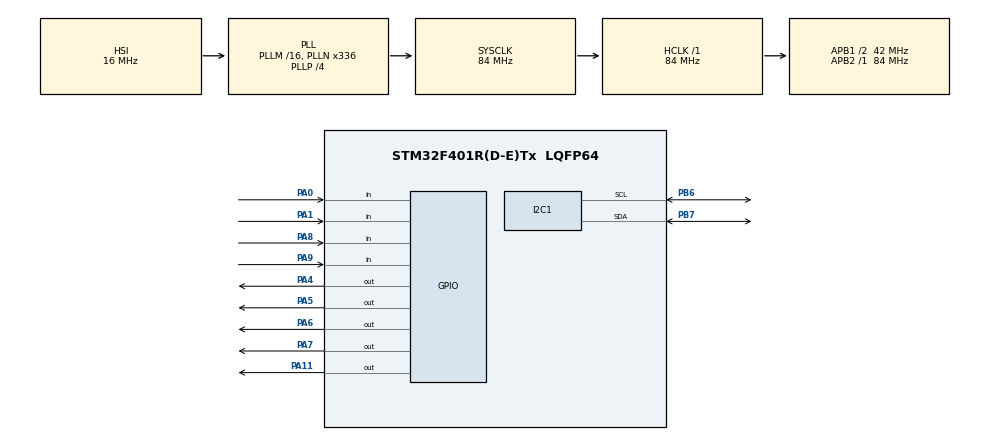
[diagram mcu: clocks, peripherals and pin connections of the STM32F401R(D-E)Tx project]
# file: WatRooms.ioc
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Mcu.Family=STM32F4
Mcu.Name=STM32F401R(D-E)Tx
Mcu.Package=LQFP64
NVIC.PriorityGroup=NVIC_PRIORITYGROUP_0
PA0-WKUP.Signal=GPIO_Input
PA1.Signal=GPIO_Input
PA11.Signal=GPIO_Output
PA13.Mode=Serial_Wire
PA13.Signal=SYS_JTMS-SWDIO
PA14.Mode=Serial_Wire
PA14.Signal=SYS_JTCK-SWCLK
PA4.Signal=GPIO_Output
PA5.Signal=GPIO_Output
PA6.Signal=GPIO_Output
PA7.Signal=GPIO_Output
PA8.Signal=GPIO_Input
PA9.Signal=GPIO_Input
PB6.Mode=I2C
PB6.Signal=I2C1_SCL
PB7.Mode=I2C
PB7.Signal=I2C1_SDA
PH0\ -\ OSC_IN.Mode=HSE-External-Oscillator
PH0\ -\ OSC_IN.Signal=RCC_OSC_IN
PH1\ -\ OSC_OUT.Mode=HSE-External-Oscillator
PH1\ -\ OSC_OUT.Signal=RCC_OSC_OUT
ProjectManager.HeapSize=0x200
ProjectManager.StackSize=0x400
ProjectManager.TargetToolchain=STM32CubeIDE
RCC.48MHZClocksFreq_Value=48000000
RCC.AHBFreq_Value=84000000
RCC.APB1CLKDivider=RCC_HCLK_DIV2
RCC.APB1Freq_Value=42000000
RCC.APB1TimFreq_Value=84000000
RCC.APB2Freq_Value=84000000
RCC.APB2TimFreq_Value=84000000
RCC.CortexFreq_Value=84000000
RCC.HCLKFreq_Value=84000000
RCC.HSE_VALUE=8000000
RCC.HSI_VALUE=16000000
RCC.LSE_VALUE=32768
RCC.PLLN=336
RCC.PLLP=RCC_PLLP_DIV4
RCC.PLLQ=7
RCC.SYSCLKFreq_VALUE=84000000
RCC.SYSCLKSource=RCC_SYSCLKSOURCE_PLLCLK
RCC.VCOOutputFreq_Value=336000000
board=NUCLEO-F401RE

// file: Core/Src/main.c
/* USER CODE BEGIN Header */
/* USER CODE END Header */
#include "main.h"

/* USER CODE BEGIN Includes */
#include <stdio.h>
#include "stm32f4xx_hal.h"
#include <string.h>

extern I2C_HandleTypeDef hi2c1;
#define SLAVE_ADDRESS_LCD 0x4E
/* USER CODE END Includes */

I2C_HandleTypeDef hi2c1;

void SystemClock_Config(void);
static void MX_GPIO_Init(void);
static void MX_I2C1_Init(void);

/* USER CODE BEGIN 0 */
const uint16_t KEYPAD_ROWS[] = {GPIO_PIN_0, GPIO_PIN_1, GPIO_PIN_8, GPIO_PIN_9};
const uint16_t KEYPAD_COLS[] = {GPIO_PIN_4, GPIO_PIN_5, GPIO_PIN_6, GPIO_PIN_7};
#define KEYPAD_ROW_PORT GPIOA
#define KEYPAD_COL_PORT GPIOA

char keypad[4][4] = {
    {'1', '2', '3', 'A'},
    {'4', '5', '6', 'B'},
    {'7', '8', '9', 'C'},
    {'*', '0', '#', 'D'}
};

void setupKeypad() {
    GPIO_InitTypeDef GPIO_InitStruct = {0};

    // Configure rows as input with pull-up
    GPIO_InitStruct.Mode = GPIO_MODE_INPUT;
    GPIO_InitStruct.Pull = GPIO_PULLUP;
    for (int i = 0; i < 4; i++) {
        GPIO_InitStruct.Pin = KEYPAD_ROWS[i];
        HAL_GPIO_Init(KEYPAD_ROW_PORT, &GPIO_InitStruct);
    }

    // Configure columns as output
    GPIO_InitStruct.Mode = GPIO_MODE_OUTPUT_PP;
    GPIO_InitStruct.Pull = GPIO_NOPULL;
    GPIO_InitStruct.Speed = GPIO_SPEED_FREQ_LOW;
    for (int i = 0; i < 4; i++) {
        GPIO_InitStruct.Pin = KEYPAD_COLS[i];
        HAL_GPIO_Init(KEYPAD_COL_PORT, &GPIO_InitStruct);
        HAL_GPIO_WritePin(KEYPAD_COL_PORT, KEYPAD_COLS[i], GPIO_PIN_SET);
    }
}

char scanKeypad() {
    for (int col = 0; col < 4; col++) {
        HAL_GPIO_WritePin(KEYPAD_COL_PORT, KEYPAD_COLS[col], GPIO_PIN_RESET); // Set column low
        for (int row = 0; row < 4; row++) {
            if (HAL_GPIO_ReadPin(KEYPAD_ROW_PORT, KEYPAD_ROWS[row]) == GPIO_PIN_RESET) {
                HAL_Delay(50); // Debounce delay
                while (HAL_GPIO_ReadPin(KEYPAD_ROW_PORT, KEYPAD_ROWS[row]) == GPIO_PIN_RESET); // Wait for release
                HAL_GPIO_WritePin(KEYPAD_COL_PORT, KEYPAD_COLS[col], GPIO_PIN_SET); // Reset column high

                // Debugging: Print which row and column were detected
                printf("Row: %d, Column: %d\n", row, col);
                return keypad[row][col];
            }
        }
        HAL_GPIO_WritePin(KEYPAD_COL_PORT, KEYPAD_COLS[col], GPIO_PIN_SET); // Reset column high
    }
    return '\0';
}

void lcd_send_cmd (char cmd)
{
  char data_u, data_l;
	uint8_t data_t[4];
	data_u = (cmd&0xf0);
	data_l = ((cmd<<4)&0xf0);
	data_t[0] = data_u|0x0C;  //en=1, rs=0
	data_t[1] = data_u|0x08;  //en=0, rs=0
	data_t[2] = data_l|0x0C;  //en=1, rs=0
	data_t[3] = data_l|0x08;  //en=0, rs=0
	HAL_I2C_Master_Transmit (&hi2c1, SLAVE_ADDRESS_LCD,(uint8_t *) data_t, 4, 100);
}

void lcd_send_data (char data)
{
	char data_u, data_l;
	uint8_t data_t[4];
	data_u = (data&0xf0);
	data_l = ((data<<4)&0xf0);
	data_t[0] = data_u|0x0D;  //en=1, rs=1
	data_t[1] = data_u|0x09;  //en=0, rs=1
	data_t[2] = data_l|0x0D;  //en=1, rs=1
	data_t[3] = data_l|0x09;  //en=0, rs=1
	HAL_I2C_Master_Transmit (&hi2c1, SLAVE_ADDRESS_LCD,(uint8_t *) data_t, 4, 100);
}

void lcd_clear (void)
{
	lcd_send_cmd (0x00);
	for (int i=0; i<100; i++)
	{
		lcd_send_data (' ');
	}
}

void lcd_init (void)
{
	// 4 bit initialisation
	HAL_Delay(50);  // wait for >40ms
	lcd_send_cmd (0x30);
	HAL_Delay(5);  // wait for >4.1ms
	lcd_send_cmd (0x30);
	HAL_Delay(1);  // wait for >100us
	lcd_send_cmd (0x30);
	HAL_Delay(10);
	lcd_send_cmd (0x20);  // 4bit mode
	HAL_Delay(10);

  // dislay initialisation
	lcd_send_cmd (0x28); // Function set --> DL=0 (4 bit mode), N = 1 (2 line display) F = 0 (5x8 characters)
	HAL_Delay(1);
	lcd_send_cmd (0x08); //Display on/off control --> D=0,C=0, B=0  ---> display off
	HAL_Delay(1);
	lcd_send_cmd (0x01);  // clear display
	HAL_Delay(1);
	lcd_send_cmd (0x06); //Entry mode set --> I/D = 1 (increment cursor) & S = 0 (no shift)
	HAL_Delay(1);
	lcd_send_cmd (0x0C); //Display on/off control --> D = 1, C and B = 0. (Cursor and blink, last two bits)
}

void lcd_send_string (char *str)
{
	while (*str) lcd_send_data (*str++);
}
/* USER CODE END 0 */

int main(void)
{

  /* MCU Configuration--------------------------------------------------------*/

  /* Reset of all peripherals, Initializes the Flash interface and the Systick. */
  HAL_Init();

  /* Configure the system clock */
  SystemClock_Config();

  /* Initialize all configured peripherals */
  MX_GPIO_Init();
  MX_I2C1_Init();
  /* USER CODE BEGIN 2 */
  setupKeypad();
  lcd_init();

  void reset(void) {
	  lcd_clear();
  	  lcd_send_cmd(0x80|0x00);
  	  lcd_send_string("Student #: ");

  	  lcd_send_cmd(0x80|0x40);
  	  lcd_send_string("");

  	  lcd_send_cmd(0x80|0x14);
  	  lcd_send_string("Press * to enter");

  	  lcd_send_cmd(0x80|0x54);
  	  lcd_send_string("");
  }

  reset();
  /* USER CODE END 2 */

  /* Infinite loop */
  /* USER CODE BEGIN WHILE */
  lcd_send_cmd(0x80|0x0B);

  int count = 0;
  char numbers[8];
  char password[8] = {'2', '0', '8', '9', '6', '0', '5', '2'};

  while (1) {
	  char key = scanKeypad();
	  if (key != '\0') {
		  if (key == '#') {
			  reset();
			  lcd_send_cmd(0x80|0x0B);
			  count = 0;
		  }
		  else if (key == '*') {
			  lcd_send_cmd(0x80|0x54);
			  lcd_send_string("WAIT");
			  HAL_Delay(1000);
			  lcd_send_string(".");
			  HAL_Delay(1000);
			  lcd_send_string(".");
			  HAL_Delay(1000);
			  lcd_send_string(".");
			  HAL_Delay(1000);

			  if (!memcmp(numbers, password, sizeof(numbers))) {
				  lcd_send_cmd(0x80|0x54);
				  lcd_send_string("WELCOME!");
				  HAL_GPIO_WritePin(GPIOA, GPIO_PIN_11, 1);
				  HAL_Delay(1000);
				  HAL_GPIO_WritePin(GPIOA, GPIO_PIN_11, 0);
			  }

			  reset();
			  lcd_send_cmd(0x80|0x0B);
			  count = 0;
		  } else {
			  if (count < 8) {
				  //printf("Key pressed: %c\n", key);
				  char str[20];
				  str[0] = key;
				  str[1] = '\0';
				  lcd_send_string(str);
				  numbers[count] = key;
				  count++;
				  HAL_Delay(350);
			  }
		  }
	  }
  }
    /* USER CODE END WHILE */

}

void SystemClock_Config(void)
{
  RCC_OscInitTypeDef RCC_OscInitStruct = {0};
  RCC_ClkInitTypeDef RCC_ClkInitStruct = {0};

  /** Configure the main internal regulator output voltage
  */
  __HAL_RCC_PWR_CLK_ENABLE();
  __HAL_PWR_VOLTAGESCALING_CONFIG(PWR_REGULATOR_VOLTAGE_SCALE2);

  /** Initializes the RCC Oscillators according to the specified parameters
  * in the RCC_OscInitTypeDef structure.
  */
  RCC_OscInitStruct.OscillatorType = RCC_OSCILLATORTYPE_HSI;
  RCC_OscInitStruct.HSIState = RCC_HSI_ON;
  RCC_OscInitStruct.HSICalibrationValue = RCC_HSICALIBRATION_DEFAULT;
  RCC_OscInitStruct.PLL.PLLState = RCC_PLL_ON;
  RCC_OscInitStruct.PLL.PLLSource = RCC_PLLSOURCE_HSI;
  RCC_OscInitStruct.PLL.PLLM = 16;
  RCC_OscInitStruct.PLL.PLLN = 336;
  RCC_OscInitStruct.PLL.PLLP = RCC_PLLP_DIV4;
  RCC_OscInitStruct.PLL.PLLQ = 7;
  if (HAL_RCC_OscConfig(&RCC_OscInitStruct) != HAL_OK)
  {
    Error_Handler();
  }

  /** Initializes the CPU, AHB and APB buses clocks
  */
  RCC_ClkInitStruct.ClockType = RCC_CLOCKTYPE_HCLK|RCC_CLOCKTYPE_SYSCLK
                              |RCC_CLOCKTYPE_PCLK1|RCC_CLOCKTYPE_PCLK2;
  RCC_ClkInitStruct.SYSCLKSource = RCC_SYSCLKSOURCE_PLLCLK;
  RCC_ClkInitStruct.AHBCLKDivider = RCC_SYSCLK_DIV1;
  RCC_ClkInitStruct.APB1CLKDivider = RCC_HCLK_DIV2;
  RCC_ClkInitStruct.APB2CLKDivider = RCC_HCLK_DIV1;

  if (HAL_RCC_ClockConfig(&RCC_ClkInitStruct, FLASH_LATENCY_2) != HAL_OK)
  {
    Error_Handler();
  }
}

static void MX_I2C1_Init(void)
{

  hi2c1.Instance = I2C1;
  hi2c1.Init.ClockSpeed = 100000;
  hi2c1.Init.DutyCycle = I2C_DUTYCYCLE_2;
  hi2c1.Init.OwnAddress1 = 0;
  hi2c1.Init.AddressingMode = I2C_ADDRESSINGMODE_7BIT;
  hi2c1.Init.DualAddressMode = I2C_DUALADDRESS_DISABLE;
  hi2c1.Init.OwnAddress2 = 0;
  hi2c1.Init.GeneralCallMode = I2C_GENERALCALL_DISABLE;
  hi2c1.Init.NoStretchMode = I2C_NOSTRETCH_DISABLE;
  if (HAL_I2C_Init(&hi2c1) != HAL_OK)
  {
    Error_Handler();
  }

}

static void MX_GPIO_Init(void)
{
  GPIO_InitTypeDef GPIO_InitStruct = {0};

  /* GPIO Ports Clock Enable */
  __HAL_RCC_GPIOH_CLK_ENABLE();
  __HAL_RCC_GPIOA_CLK_ENABLE();
  __HAL_RCC_GPIOB_CLK_ENABLE();

  /*Configure GPIO pin Output Level */
  HAL_GPIO_WritePin(GPIOA, GPIO_PIN_4|GPIO_PIN_5|GPIO_PIN_6|GPIO_PIN_7
                          |GPIO_PIN_11, GPIO_PIN_RESET);

  /*Configure GPIO pins : PA0 PA1 PA8 PA9 */
  GPIO_InitStruct.Pin = GPIO_PIN_0|GPIO_PIN_1|GPIO_PIN_8|GPIO_PIN_9;
  GPIO_InitStruct.Mode = GPIO_MODE_INPUT;
  GPIO_InitStruct.Pull = GPIO_NOPULL;
  HAL_GPIO_Init(GPIOA, &GPIO_InitStruct);

  /*Configure GPIO pins : PA4 PA5 PA6 PA7
                           PA11 */
  GPIO_InitStruct.Pin = GPIO_PIN_4|GPIO_PIN_5|GPIO_PIN_6|GPIO_PIN_7
                          |GPIO_PIN_11;
  GPIO_InitStruct.Mode = GPIO_MODE_OUTPUT_PP;
  GPIO_InitStruct.Pull = GPIO_NOPULL;
  GPIO_InitStruct.Speed = GPIO_SPEED_FREQ_LOW;
  HAL_GPIO_Init(GPIOA, &GPIO_InitStruct);

}

/* USER CODE BEGIN 4 */
int _write(int file, char *ptr, int len)
{
  (void)file;
  int DataIdx;

  for (DataIdx = 0; DataIdx < len; DataIdx++)
  {
    ITM_SendChar(*ptr++);
  }
  return len;
}

/* USER CODE END 4 */

void Error_Handler(void)
{
}
